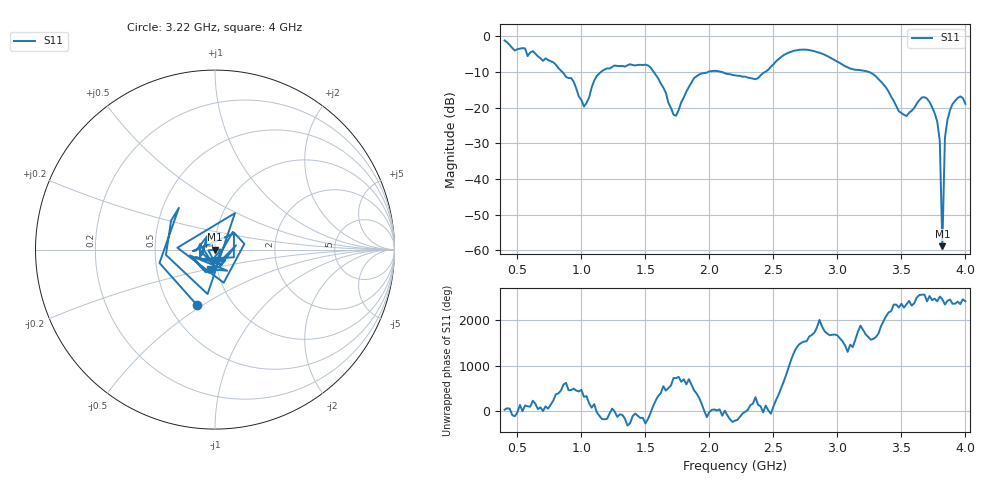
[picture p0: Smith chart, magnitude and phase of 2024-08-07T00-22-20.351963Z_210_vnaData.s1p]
!Created with skrf (http://scikit-rf.org).
# Hz S RI R 50.0
!freq ReS11 ImS11
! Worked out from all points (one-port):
!   181 points, 400 MHz to 4 GHz, reference 50 ohm
!   lowest |S11| = -58.9 dB at 3.82 GHz (marker M1), VSWR 1.00, Z = 50.1 - j0.0973 ohm
!   |S11| at or under -10 dB: 1.565 GHz to 1.992 GHz (427.1 MHz wide, 24 % of centre); 2.094 GHz to 2.436 GHz (342.7 MHz wide, 15.1 % of centre); 3.243 GHz to end of sweep (the widest 3 of 4)
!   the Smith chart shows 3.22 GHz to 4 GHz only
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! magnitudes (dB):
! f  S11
! 400 MHz  -1.2
! 860 MHz  -10.4
! 940 MHz  -12.8
! 1.02 GHz  -19.7
! 1.12 GHz  -11.2
! 1.3 GHz  -8.4
! 1.52 GHz  -8.2
! 1.64 GHz  -14.4
! 1.72 GHz  -22.0
! 1.76 GHz  -20.7
! 1.84 GHz  -14.2
! 1.92 GHz  -10.7
! 2.2 GHz  -11.0
! 2.38 GHz  -11.8
! 2.66 GHz  -4.1
! 2.86 GHz  -4.6
! 3.1 GHz  -9.1
! 3.28 GHz  -10.7
! 3.48 GHz  -21.0
! 3.56 GHz  -21.5
! 3.68 GHz  -17.1
! 3.78 GHz  -23.9
! 3.8 GHz  -29.4
! 3.82 GHz  -58.9
! 3.84 GHz  -28.5
! 3.86 GHz  -23.4
! 3.94 GHz  -17.3
! 4 GHz  -18.9
